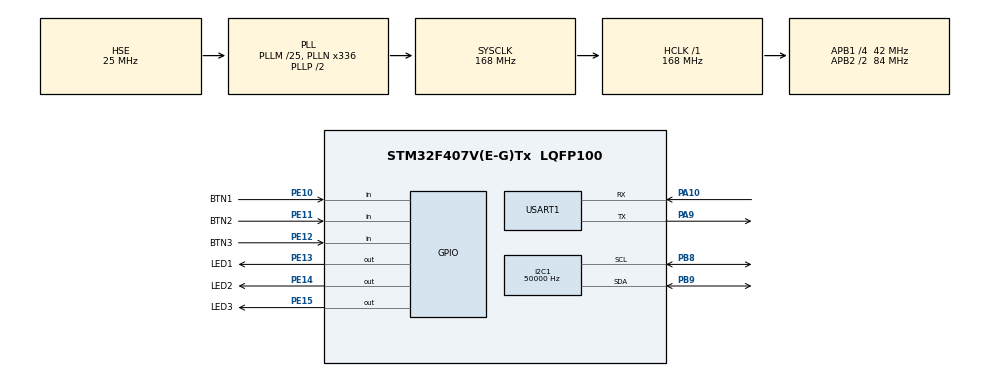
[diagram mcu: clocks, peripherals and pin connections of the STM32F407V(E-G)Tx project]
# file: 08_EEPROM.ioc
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I2C1.ClockSpeed=50000
Mcu.Family=STM32F4
Mcu.Name=STM32F407V(E-G)Tx
Mcu.Package=LQFP100
NVIC.PriorityGroup=NVIC_PRIORITYGROUP_4
NVIC.USART1_IRQn=true\:0\:0\:false\:false\:true\:true\:true\:true
PA10.Mode=Asynchronous
PA10.Signal=USART1_RX
PA13.Mode=JTAG_5_pins
PA13.Signal=SYS_JTMS-SWDIO
PA14.Mode=JTAG_5_pins
PA14.Signal=SYS_JTCK-SWCLK
PA15.Mode=JTAG_5_pins
PA15.Signal=SYS_JTDI
PA9.Mode=Asynchronous
PA9.Signal=USART1_TX
PB3.Mode=JTAG_5_pins
PB3.Signal=SYS_JTDO-SWO
PB4.Mode=JTAG_5_pins
PB4.Signal=SYS_JTRST
PB8.GPIO_Speed=GPIO_SPEED_FREQ_LOW
PB8.Mode=I2C
PB8.Signal=I2C1_SCL
PB9.GPIO_Speed=GPIO_SPEED_FREQ_LOW
PB9.Mode=I2C
PB9.Signal=I2C1_SDA
PC14-OSC32_IN.Mode=LSE-External-Oscillator
PC14-OSC32_IN.Signal=RCC_OSC32_IN
PC15-OSC32_OUT.Mode=LSE-External-Oscillator
PC15-OSC32_OUT.Signal=RCC_OSC32_OUT
PE10.GPIO_Label=BTN1
PE10.Signal=GPIO_Input
PE11.GPIO_Label=BTN2
PE11.Signal=GPIO_Input
PE12.GPIO_Label=BTN3
PE12.Signal=GPIO_Input
PE13.GPIO_Label=LED1
PE13.PinState=GPIO_PIN_SET
PE13.Signal=GPIO_Output
PE14.GPIO_Label=LED2
PE14.PinState=GPIO_PIN_SET
PE14.Signal=GPIO_Output
PE15.GPIO_Label=LED3
PE15.PinState=GPIO_PIN_SET
PE15.Signal=GPIO_Output
PH0-OSC_IN.Mode=HSE-External-Oscillator
PH0-OSC_IN.Signal=RCC_OSC_IN
PH1-OSC_OUT.Mode=HSE-External-Oscillator
PH1-OSC_OUT.Signal=RCC_OSC_OUT
ProjectManager.HeapSize=0x200
ProjectManager.StackSize=0x400
ProjectManager.TargetToolchain=STM32CubeIDE
RCC.48MHZClocksFreq_Value=84000000
RCC.AHBFreq_Value=168000000
RCC.APB1CLKDivider=RCC_HCLK_DIV4
RCC.APB1Freq_Value=42000000
RCC.APB1TimFreq_Value=84000000
RCC.APB2CLKDivider=RCC_HCLK_DIV2
RCC.APB2Freq_Value=84000000
RCC.APB2TimFreq_Value=168000000
RCC.CortexFreq_Value=168000000
RCC.HCLKFreq_Value=168000000
RCC.HSE_VALUE=25000000
RCC.HSI_VALUE=16000000
RCC.PLLM=25
RCC.PLLN=336
RCC.PLLSourceVirtual=RCC_PLLSOURCE_HSE
RCC.SYSCLKFreq_VALUE=168000000
RCC.SYSCLKSource=RCC_SYSCLKSOURCE_PLLCLK
RCC.VCOOutputFreq_Value=336000000
USART1.VirtualMode=VM_ASYNC
board=custom

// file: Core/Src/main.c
/* USER CODE BEGIN Header */
/**
  ******************************************************************************
  * @file           : main.c
  * @brief          : Main program body
  ******************************************************************************
  * @attention
  *
  * Copyright (c) 2025 STMicroelectronics.
  * All rights reserved.
  *
  * This software is licensed under terms that can be found in the LICENSE file
  * in the root directory of this software component.
  * If no LICENSE file comes with this software, it is provided AS-IS.
  *
  ******************************************************************************
  */
/* USER CODE END Header */
#include "main.h"
#include "i2c.h"
#include "usart.h"
#include "gpio.h"

/* USER CODE BEGIN Includes */
#include <stdio.h>
/* USER CODE END Includes */

/* USER CODE BEGIN PD */
#define EEPROM_ADDRESS 0x50 << 1  // AT24C02BN의 I2C 주소 (Write: 0xA0, Read: 0xA1)
/* USER CODE END PD */

/* USER CODE BEGIN PV */
extern UART_HandleTypeDef huart1;
extern I2C_HandleTypeDef hi2c1;
/* USER CODE END PV */

void SystemClock_Config(void);
/* USER CODE BEGIN PFP */
// I2C 초기화 함수

// EEPROM에 데이터 쓰기
HAL_StatusTypeDef EEPROM_Write(uint16_t memAddress, uint8_t *data, uint16_t size) {
    return HAL_I2C_Mem_Write(&hi2c1, EEPROM_ADDRESS, memAddress, I2C_MEMADD_SIZE_8BIT, data, size, HAL_MAX_DELAY);
}

// EEPROM에서 데이터 읽기
HAL_StatusTypeDef EEPROM_Read(uint16_t memAddress, uint8_t *data, uint16_t size) {
    return HAL_I2C_Mem_Read(&hi2c1, EEPROM_ADDRESS, memAddress, I2C_MEMADD_SIZE_8BIT, data, size, HAL_MAX_DELAY);
}
/* USER CODE END PFP */

/* USER CODE BEGIN 0 */
int __io_putchar(int ch)
{
  if(HAL_UART_Transmit(&huart1, (uint8_t *)&ch, 1, 10) != HAL_OK)
  {
    return -1;
  }
  return ch;
}

uint8_t rxbuf;
void HAL_UART_RxCpltCallback(UART_HandleTypeDef *huart)
{
  if (huart->Instance == USART1)
  {
    // to UART1
    HAL_UART_Transmit(huart, (uint8_t *)&rxbuf, 1, 10);
    HAL_UART_Receive_IT(huart, &rxbuf, 1);
  }
}
/* USER CODE END 0 */

int main(void)
{

  /* MCU Configuration--------------------------------------------------------*/

  /* Reset of all peripherals, Initializes the Flash interface and the Systick. */
  HAL_Init();

  /* Configure the system clock */
  SystemClock_Config();

  /* Initialize all configured peripherals */
  MX_GPIO_Init();
  MX_USART1_UART_Init();
  MX_I2C1_Init();
  /* USER CODE BEGIN 2 */
  MX_I2C1_Init();

  uint8_t writeData[8] = {0xAA, 0xBB, 0xCC, 0xDD, 0xEE, 0xFF, 0x11, 0x22};  // 쓰기 데이터
  uint8_t readData[8] = {0};  // 읽기 데이터 버퍼

  // EEPROM 쓰기
  if (EEPROM_Write(0x00, writeData, sizeof(writeData)) == HAL_OK) {
      HAL_Delay(50);  // EEPROM 쓰기 지연
  }

  // EEPROM 읽기
  if (EEPROM_Read(0x00, readData, sizeof(readData)) == HAL_OK) {
      // 데이터 확인을 위한 디버그 핸들링
    printf("\nRead EEPROM DATA: ");
    for(int i=0;i<8; i++)
      printf("%x,",readData[i]);
    printf("\n");
  }
  /* USER CODE END 2 */

  /* Infinite loop */
  while (1)
  {

  }
}

void SystemClock_Config(void)
{
  RCC_OscInitTypeDef RCC_OscInitStruct = {0};
  RCC_ClkInitTypeDef RCC_ClkInitStruct = {0};

  /** Configure the main internal regulator output voltage
  */
  __HAL_RCC_PWR_CLK_ENABLE();
  __HAL_PWR_VOLTAGESCALING_CONFIG(PWR_REGULATOR_VOLTAGE_SCALE1);

  /** Initializes the RCC Oscillators according to the specified parameters
  * in the RCC_OscInitTypeDef structure.
  */
  RCC_OscInitStruct.OscillatorType = RCC_OSCILLATORTYPE_HSE;
  RCC_OscInitStruct.HSEState = RCC_HSE_ON;
  RCC_OscInitStruct.PLL.PLLState = RCC_PLL_ON;
  RCC_OscInitStruct.PLL.PLLSource = RCC_PLLSOURCE_HSE;
  RCC_OscInitStruct.PLL.PLLM = 25;
  RCC_OscInitStruct.PLL.PLLN = 336;
  RCC_OscInitStruct.PLL.PLLP = RCC_PLLP_DIV2;
  RCC_OscInitStruct.PLL.PLLQ = 4;
  if (HAL_RCC_OscConfig(&RCC_OscInitStruct) != HAL_OK)
  {
    Error_Handler();
  }

  /** Initializes the CPU, AHB and APB buses clocks
  */
  RCC_ClkInitStruct.ClockType = RCC_CLOCKTYPE_HCLK|RCC_CLOCKTYPE_SYSCLK
                              |RCC_CLOCKTYPE_PCLK1|RCC_CLOCKTYPE_PCLK2;
  RCC_ClkInitStruct.SYSCLKSource = RCC_SYSCLKSOURCE_PLLCLK;
  RCC_ClkInitStruct.AHBCLKDivider = RCC_SYSCLK_DIV1;
  RCC_ClkInitStruct.APB1CLKDivider = RCC_HCLK_DIV4;
  RCC_ClkInitStruct.APB2CLKDivider = RCC_HCLK_DIV2;

  if (HAL_RCC_ClockConfig(&RCC_ClkInitStruct, FLASH_LATENCY_5) != HAL_OK)
  {
    Error_Handler();
  }
}

void Error_Handler(void)
{
  __disable_irq();
  while (1)
  {
  }
}
